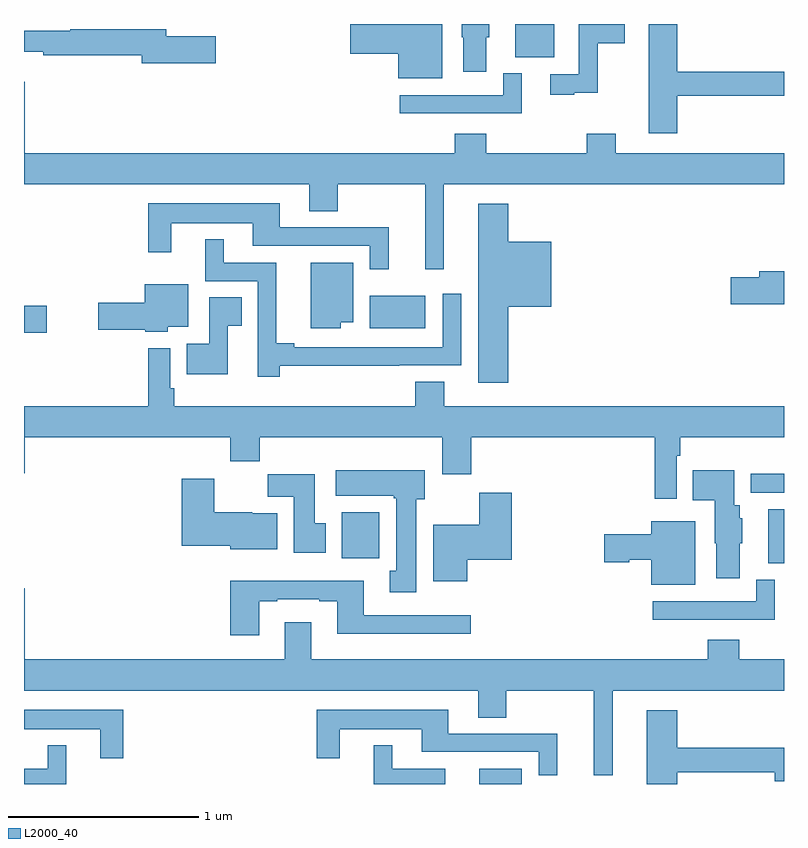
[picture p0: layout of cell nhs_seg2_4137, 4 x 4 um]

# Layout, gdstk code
import gdstk
lib = gdstk.Library(unit=1e-6, precision=1e-09)
def R(c, l, rs):  # rectangles x0, y0, x1, y1
    for r in rs: c.add(gdstk.rectangle(r[:2], r[2:], *l))
def P(c, l, *ps):  # polygons
    for p in ps: c.add(gdstk.Polygon(p, *l))
L2000_40 = (2000, 40)

nhs_seg2_4137 = lib.new_cell('nhs_seg2_4137')
R(nhs_seg2_4137, L2000_40, [(335.396,657.8,335.62,657.88), (336.917,658.961,337,659.245), (334.673,658.988,334.87,659.23), (336.825,659.334,337,659.432), (333,660.175,333.121,660.317), (334.82,660.2,335.113,660.37), (335.585,661.625,335.791,661.8)])
P(nhs_seg2_4137, L2000_40, [(335.897,661.439),(336.02,661.439),(336.02,661.699),(336.163,661.699),(336.163,661.8),(335.919,661.8),(335.919,661.536),(335.769,661.536),(335.769,661.428),(335.897,661.428)],
  [(335.434,661.731),(335.449,661.731),(335.449,661.8),(335.303,661.8),(335.303,661.731),(335.312,661.731),(335.312,661.548),(335.434,661.548)],
  [(335.2,661.8),(334.718,661.8),(334.718,661.643),(334.97,661.643),(334.97,661.514),(335.2,661.514)],
  [(336.437,661.422),(337,661.422),(337,661.55),(336.437,661.55),(336.437,661.8),(336.287,661.8),(336.287,661.224),(336.437,661.224)],
  [(334.009,661.736),(333.748,661.736),(333.748,661.772),(333.244,661.772),(333.244,661.765),(333,661.765),(333,661.655),(333.1,661.655),(333.1,661.636),(333.62,661.636),(333.62,661.594),(334.009,661.594)],
  [(335.62,661.54),(335.523,661.54),(335.523,661.425),(334.977,661.425),(334.977,661.329),(335.62,661.329)],
  [(335.21,660.956),(337,660.956),(337,661.12),(336.115,661.12),(336.115,661.222),(335.963,661.222),(335.963,661.12),(335.432,661.12),(335.432,661.222),(335.267,661.222),(335.267,661.12),(333.004,661.12),(333.004,661.495),(333,661.495),(333,660.956),(334.502,660.956),(334.502,660.814),(334.65,660.814),(334.65,660.956),(335.111,660.956),(335.111,660.51),(335.21,660.51)],
  [(334.919,660.729),(334.345,660.729),(334.345,660.856),(333.654,660.856),(333.654,660.6),(333.775,660.6),(333.775,660.752),(334.205,660.752),(334.205,660.633),(334.821,660.633),(334.821,660.51),(334.919,660.51)],
  [(335.549,660.311),(335.776,660.311),(335.776,660.655),(335.549,660.655),(335.549,660.853),(335.39,660.853),(335.39,659.913),(335.549,659.913)],
  [(334.346,660.002),(334.976,660.002),(334.976,660.003),(335.301,660.003),(335.301,660.379),(335.205,660.379),(335.205,660.099),(334.423,660.099),(334.423,660.119),(334.328,660.119),(334.328,660.543),(334.051,660.543),(334.051,660.667),(333.953,660.667),(333.953,660.447),(334.23,660.447),(334.23,659.943),(334.346,659.943)],
  [(334.666,660.23),(334.732,660.23),(334.732,660.544),(334.508,660.544),(334.508,660.2),(334.666,660.2)],
  [(337,660.498),(336.869,660.498),(336.869,660.468),(336.72,660.468),(336.72,660.326),(337,660.326)],
  [(333.756,660.206),(333.865,660.206),(333.865,660.43),(333.635,660.43),(333.635,660.332),(333.39,660.332),(333.39,660.19),(333.639,660.19),(333.639,660.179),(333.756,660.179)],
  [(334.072,660.211),(334.145,660.211),(334.145,660.362),(333.975,660.362),(333.975,660.118),(333.856,660.118),(333.856,659.957),(334.072,659.957)],
  [(333.771,659.884),(333.771,660.094),(333.655,660.094),(333.655,659.788),(333,659.788),(333,659.436),(333.004,659.436),(333.004,659.624),(334.085,659.624),(334.085,659.5),(334.241,659.5),(334.241,659.624),(335.201,659.624),(335.201,659.43),(335.354,659.43),(335.354,659.624),(336.319,659.624),(336.319,659.301),(336.435,659.301),(336.435,659.528),(336.455,659.528),(336.455,659.624),(337,659.624),(337,659.788),(335.212,659.788),(335.212,659.918),(335.06,659.918),(335.06,659.788),(333.791,659.788),(333.791,659.884)],
  [(335.065,659.298),(335.11,659.298),(335.11,659.452),(334.641,659.452),(334.641,659.318),(334.945,659.318),(334.945,659.305),(334.958,659.305),(334.958,658.922),(334.925,658.922),(334.925,658.809),(335.065,658.809)],
  [(336.766,659.067),(336.781,659.067),(336.781,659.199),(336.766,659.199),(336.766,659.268),(336.739,659.268),(336.739,659.452),(336.52,659.452),(336.52,659.294),(336.635,659.294),(336.635,659.067),(336.644,659.067),(336.644,658.884),(336.766,658.884)],
  [(334.588,659.172),(334.531,659.172),(334.531,659.431),(334.282,659.431),(334.282,659.312),(334.421,659.312),(334.421,659.016),(334.588,659.016)],
  [(334.333,659.224),(334.2,659.224),(334.2,659.23),(334,659.23),(334,659.407),(333.83,659.407),(333.83,659.054),(334.086,659.054),(334.086,659.036),(334.333,659.036)],
  [(335.332,658.979),(335.567,658.979),(335.567,659.332),(335.396,659.332),(335.396,659.164),(335.153,659.164),(335.153,658.868),(335.332,658.868)],
  [(336.532,659.182),(336.302,659.182),(336.302,659.114),(336.054,659.114),(336.054,658.967),(336.186,658.967),(336.186,658.979),(336.302,658.979),(336.302,658.85),(336.532,658.85)],
  [(336.952,658.876),(336.855,658.876),(336.855,658.761),(336.309,658.761),(336.309,658.665),(336.952,658.665)],
  [(334.237,658.761),(334.333,658.761),(334.333,658.773),(334.553,658.773),(334.553,658.761),(334.649,658.761),(334.649,658.592),(335.35,658.592),(335.35,658.689),(334.789,658.689),(334.789,658.87),(334.085,658.87),(334.085,658.584),(334.237,658.584)],
  [(336.098,658.292),(337,658.292),(337,658.456),(336.764,658.456),(336.764,658.558),(336.599,658.558),(336.599,658.456),(334.513,658.456),(334.513,658.651),(334.373,658.651),(334.373,658.456),(333.004,658.456),(333.004,658.831),(333,658.831),(333,658.292),(335.39,658.292),(335.39,658.15),(335.538,658.15),(335.538,658.292),(335.999,658.292),(335.999,657.846),(336.098,657.846)],
  [(335.807,658.065),(335.233,658.065),(335.233,658.192),(334.542,658.192),(334.542,657.936),(334.663,657.936),(334.663,658.088),(335.093,658.088),(335.093,657.969),(335.709,657.969),(335.709,657.846),(335.807,657.846)],
  [(333.523,658.192),(333,658.192),(333,658.088),(333.401,658.088),(333.401,657.936),(333.523,657.936)],
  [(336.437,657.862),(336.95,657.862),(336.95,657.815),(337,657.815),(337,657.991),(336.437,657.991),(336.437,658.189),(336.278,658.189),(336.278,657.8),(336.437,657.8)],
  [(335.216,657.879),(334.939,657.879),(334.939,658.003),(334.841,658.003),(334.841,657.8),(335.216,657.8)],
  [(333.223,658.003),(333.125,658.003),(333.125,657.879),(333,657.879),(333,657.8),(333.223,657.8)])

lib.write_gds('nhs_seg2_4137.gds')
